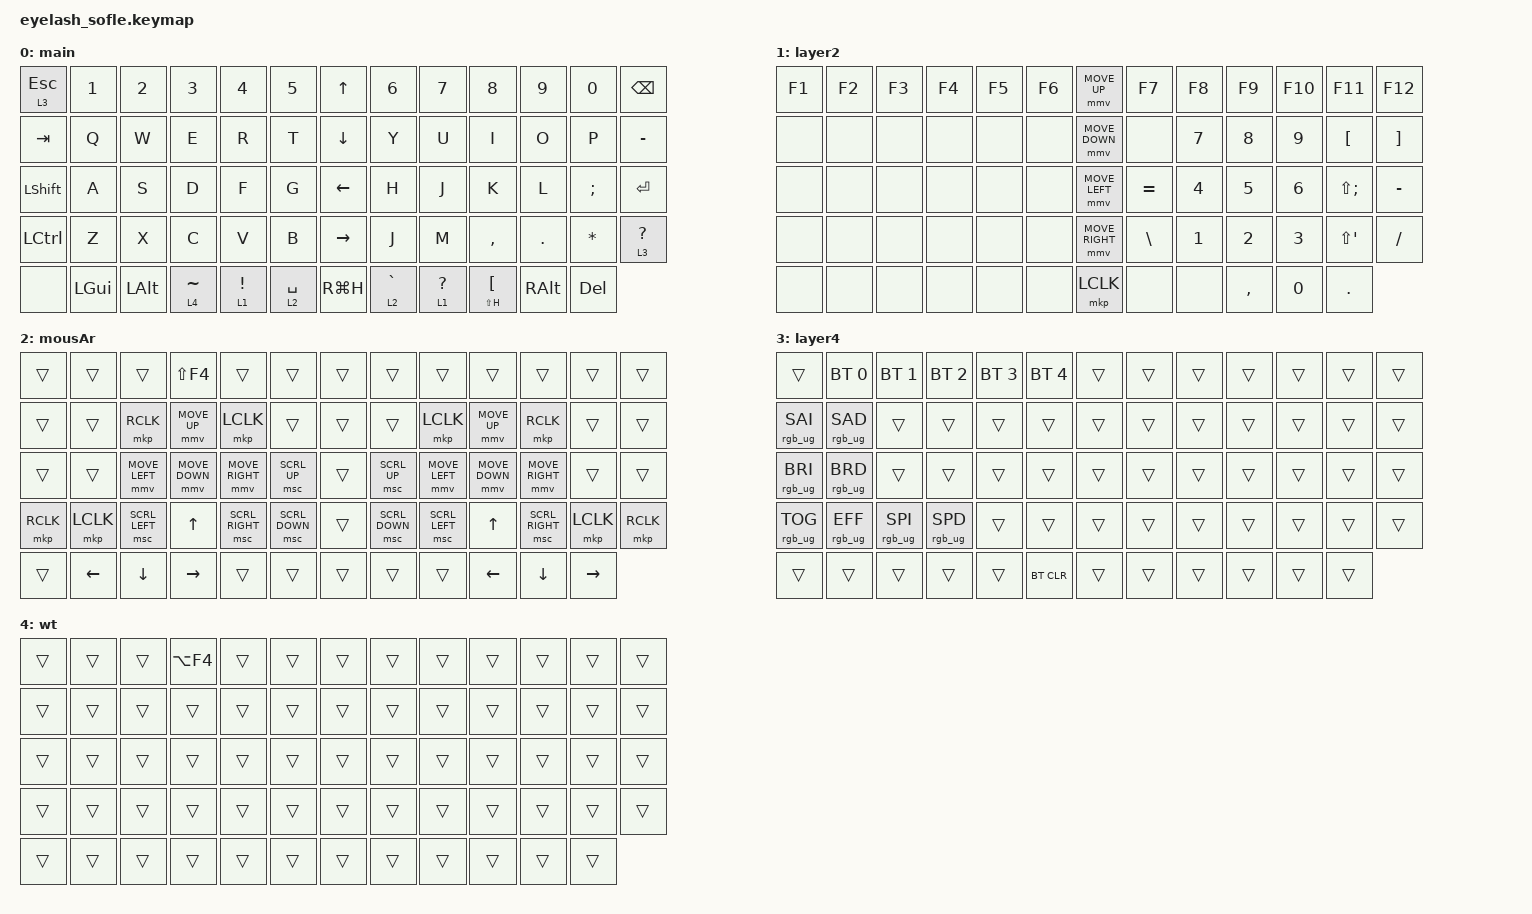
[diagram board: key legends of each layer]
#define ZMK_POINTING_DEFAULT_MOVE_VAL 1200  // 600
#define ZMK_POINTING_DEFAULT_SCRL_VAL 25   // 10

#include <input/processors.dtsi>
#include <zephyr/dt-bindings/input/input-event-codes.h>
#include <behaviors.dtsi>
#include <dt-bindings/zmk/bt.h>
#include <dt-bindings/zmk/keys.h>
#include <dt-bindings/zmk/pointing.h>
#include <dt-bindings/zmk/rgb.h>

&mmv_input_listener { input-processors = <&zip_xy_scaler 2 1>; };

&msc_input_listener { input-processors = <&zip_scroll_scaler 2 1>; };

&msc {
    acceleration-exponent = <1>;      // 0
    time-to-max-speed-ms = <100>;       // 300
    delay-ms = <0>;                   // 0
};

&mmv {
    time-to-max-speed-ms = <500>;
    acceleration-exponent = <1>;
    trigger-period-ms = <16>;
};

&soft_off { hold-time-ms = <2000>; };

/ {
    scroll_encoder: scroll_encoder {
        compatible = "zmk,behavior-sensor-rotate";
        #sensor-binding-cells = <0>;
        bindings = <&msc SCRL_DOWN>, <&msc SCRL_UP>;

        tap-ms = <100>;
    };

    behaviors {
    };

    combos {
        compatible = "zmk,combos";

        softoff {
            bindings = <&soft_off>;
            key-positions = <14 28 40>;
        };
    };

    macros {
        SHIFT_MCLK: SHIFT_MCLK {
            compatible = "zmk,behavior-macro";
            #binding-cells = <0>;
            bindings =
                <&macro_press>,
                <&kp LEFT_SHIFT>,
                <&macro_press>,
                <&mkp MB3>,
                <&macro_pause_for_release>,
                <&macro_release>,
                <&kp LEFT_SHIFT &mkp MB3>;

            label = "SHIFT_MCLK";
        };
    };

    keymap {
        compatible = "zmk,keymap";

        main {
            bindings = <
&lt 3 ESCAPE  &kp N1        &kp N2        &kp N3       &kp N4      &kp N5         &kp UP_ARROW     &kp N6       &kp N7       &kp N8                  &kp N9         &kp N0     &kp BACKSPACE
&kp TAB       &kp Q         &kp W         &kp E        &kp R       &kp T          &kp DOWN_ARROW   &kp Y        &kp U        &kp I                   &kp O          &kp P      &kp MINUS
&kp LSHFT     &kp A         &kp S         &kp D        &kp F       &kp G          &kp LEFT_ARROW   &kp H        &kp J        &kp K                   &kp L          &kp SEMI   &kp RET
&kp LCTRL     &kp Z         &kp X         &kp C        &kp V       &kp B          &kp RIGHT_ARROW  &kp J        &kp M        &kp COMMA               &kp DOT        &kp ASTRK  &lt 3 QUESTION
&none         &kp LEFT_GUI  &kp LEFT_ALT  &lt 4 TILDE  &lt 1 EXCL  &lt 2 SPACE    &kp RG(H)        &lt 2 GRAVE  &lt 1 QMARK  &mt LS(H) LEFT_BRACKET  &kp RIGHT_ALT  &kp DEL
            >;

            display-name = "main";
        };

        nom {
            bindings = <
&kp F1  &kp F2  &kp F3  &kp F4  &kp F5  &kp F6    &mmv MOVE_UP     &kp F7         &kp F8  &kp F9     &kp F10  &kp F11            &kp F12
&none   &none   &none   &none   &none   &none     &mmv MOVE_DOWN   &none          &kp N7  &kp N8     &kp N9   &kp LBKT           &kp RBKT
&none   &none   &none   &none   &none   &none     &mmv MOVE_LEFT   &kp EQUAL      &kp N4  &kp N5     &kp N6   &kp LS(SEMICOLON)  &kp MINUS
&none   &none   &none   &none   &none   &none     &mmv MOVE_RIGHT  &kp BACKSLASH  &kp N1  &kp N2     &kp N3   &kp LS(APOS)       &kp FSLH
&none   &none   &none   &none   &none   &none     &mkp LCLK        &none          &none   &kp COMMA  &kp N0   &kp DOT
            >;

            display-name = "layer2";
        };

        mousAr {
            bindings = <
&trans     &trans     &trans          &kp LS(F4)      &trans           &trans            &trans  &trans          &trans          &trans          &trans           &trans     &trans
&trans     &trans     &mkp RCLK       &mmv MOVE_UP    &mkp LCLK        &trans            &trans  &trans          &mkp LCLK       &mmv MOVE_UP    &mkp RCLK        &trans     &trans
&trans     &trans     &mmv MOVE_LEFT  &mmv MOVE_DOWN  &mmv MOVE_RIGHT  &msc SCRL_UP      &trans  &msc SCRL_UP    &mmv MOVE_LEFT  &mmv MOVE_DOWN  &mmv MOVE_RIGHT  &trans     &trans
&mkp RCLK  &mkp LCLK  &msc SCRL_LEFT  &kp UP          &msc SCRL_RIGHT  &msc SCRL_DOWN    &trans  &msc SCRL_DOWN  &msc SCRL_LEFT  &kp UP          &msc SCRL_RIGHT  &mkp LCLK  &mkp RCLK
&trans     &kp LEFT   &kp DOWN        &kp RIGHT       &trans           &trans            &trans  &trans          &trans          &kp LEFT        &kp DOWN         &kp RIGHT
            >;

            display-name = "mousAr";
        };

        config {
            bindings = <
&trans           &bt BT_SEL 0     &bt BT_SEL 1     &bt BT_SEL 2     &bt BT_SEL 3  &bt BT_SEL 4    &trans  &trans  &trans  &trans  &trans  &trans  &trans
&rgb_ug RGB_SAI  &rgb_ug RGB_SAD  &trans           &trans           &trans        &trans          &trans  &trans  &trans  &trans  &trans  &trans  &trans
&rgb_ug RGB_BRI  &rgb_ug RGB_BRD  &trans           &trans           &trans        &trans          &trans  &trans  &trans  &trans  &trans  &trans  &trans
&rgb_ug RGB_TOG  &rgb_ug RGB_EFF  &rgb_ug RGB_SPI  &rgb_ug RGB_SPD  &trans        &trans          &trans  &trans  &trans  &trans  &trans  &trans  &trans
&trans           &trans           &trans           &trans           &trans        &bt BT_CLR      &trans  &trans  &trans  &trans  &trans  &trans
            >;

            display-name = "layer4";
        };

        wt {
            bindings = <
&trans  &trans  &trans  &kp LA(F4)  &trans  &trans    &trans  &trans  &trans  &trans  &trans  &trans  &trans
&trans  &trans  &trans  &trans      &trans  &trans    &trans  &trans  &trans  &trans  &trans  &trans  &trans
&trans  &trans  &trans  &trans      &trans  &trans    &trans  &trans  &trans  &trans  &trans  &trans  &trans
&trans  &trans  &trans  &trans      &trans  &trans    &trans  &trans  &trans  &trans  &trans  &trans  &trans
&trans  &trans  &trans  &trans      &trans  &trans    &trans  &trans  &trans  &trans  &trans  &trans
            >;
        };
    };
};
